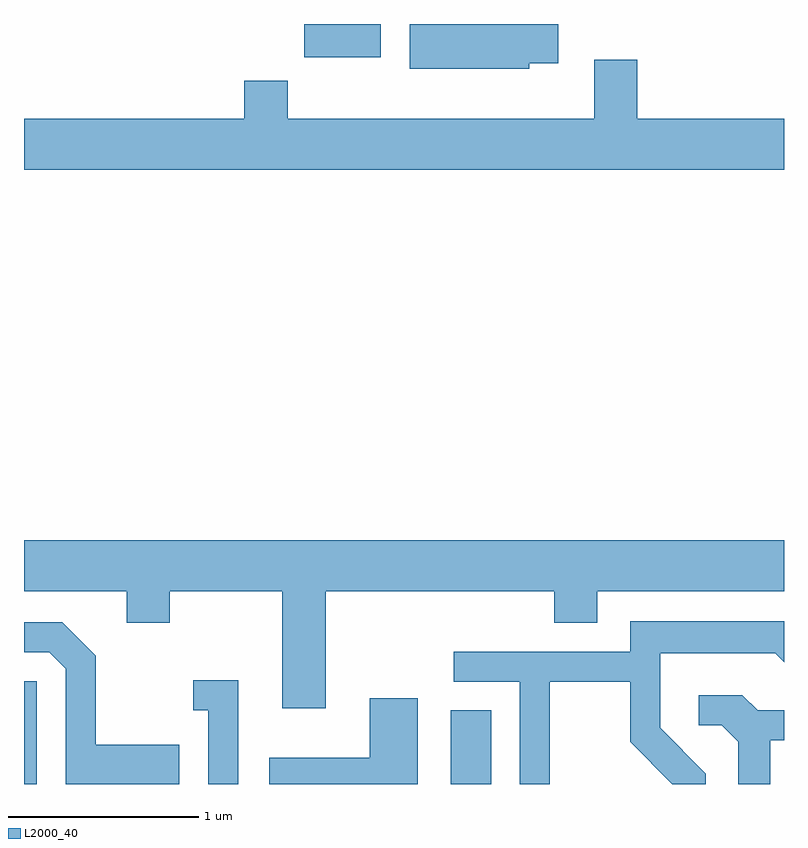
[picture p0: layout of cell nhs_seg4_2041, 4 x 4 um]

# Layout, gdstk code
import gdstk
lib = gdstk.Library(unit=1e-6, precision=1e-09)
def R(c, l, rs):  # rectangles x0, y0, x1, y1
    for r in rs: c.add(gdstk.rectangle(r[:2], r[2:], *l))
def P(c, l, *ps):  # polygons
    for p in ps: c.add(gdstk.Polygon(p, *l))
L2000_40 = (2000, 40)

nhs_seg4_2041 = lib.new_cell('nhs_seg4_2041')
R(nhs_seg4_2041, L2000_40, [(245.611,1255.982,245.679,1256.524), (247.856,1255.982,248.069,1256.369), (247.086,1259.806,247.489,1259.982)])
P(nhs_seg4_2041, L2000_40, [(248.269,1259.776),(248.424,1259.776),(248.424,1259.982),(247.641,1259.982),(247.641,1259.746),(248.269,1259.746)],
  [(249.611,1259.484),(248.839,1259.484),(248.839,1259.794),(248.611,1259.794),(248.611,1259.484),(246.999,1259.484),(246.999,1259.684),(246.771,1259.684),(246.771,1259.484),(245.611,1259.484),(245.611,1259.216),(249.611,1259.216)],
  [(245.611,1256.996),(246.151,1256.996),(246.151,1256.831),(246.379,1256.831),(246.379,1256.996),(246.971,1256.996),(246.971,1256.381),(247.199,1256.381),(247.199,1256.996),(248.401,1256.996),(248.401,1256.831),(248.629,1256.831),(248.629,1256.996),(249.611,1256.996),(249.611,1257.264),(245.611,1257.264)],
  [(248.379,1256.521),(248.801,1256.521),(248.801,1256.204),(249.023,1255.982),(249.199,1255.982),(249.199,1256.037),(248.959,1256.277),(248.959,1256.671),(249.564,1256.671),(249.611,1256.624),(249.611,1256.839),(248.801,1256.839),(248.801,1256.679),(247.873,1256.679),(247.873,1256.521),(248.221,1256.521),(248.221,1255.982),(248.379,1255.982)],
  [(246.429,1256.189),(245.989,1256.189),(245.989,1256.657),(245.812,1256.834),(245.611,1256.834),(245.611,1256.676),(245.744,1256.676),(245.831,1256.589),(245.831,1255.982),(246.429,1255.982)],
  [(246.739,1256.529),(246.503,1256.529),(246.503,1256.371),(246.581,1256.371),(246.581,1255.982),(246.739,1255.982)],
  [(249.539,1256.211),(249.611,1256.211),(249.611,1256.369),(249.472,1256.369),(249.392,1256.449),(249.163,1256.449),(249.163,1256.291),(249.284,1256.291),(249.371,1256.204),(249.371,1255.982),(249.539,1255.982)],
  [(247.684,1256.434),(247.431,1256.434),(247.431,1256.119),(246.901,1256.119),(246.901,1255.982),(247.684,1255.982)])

lib.write_gds('nhs_seg4_2041.gds')
